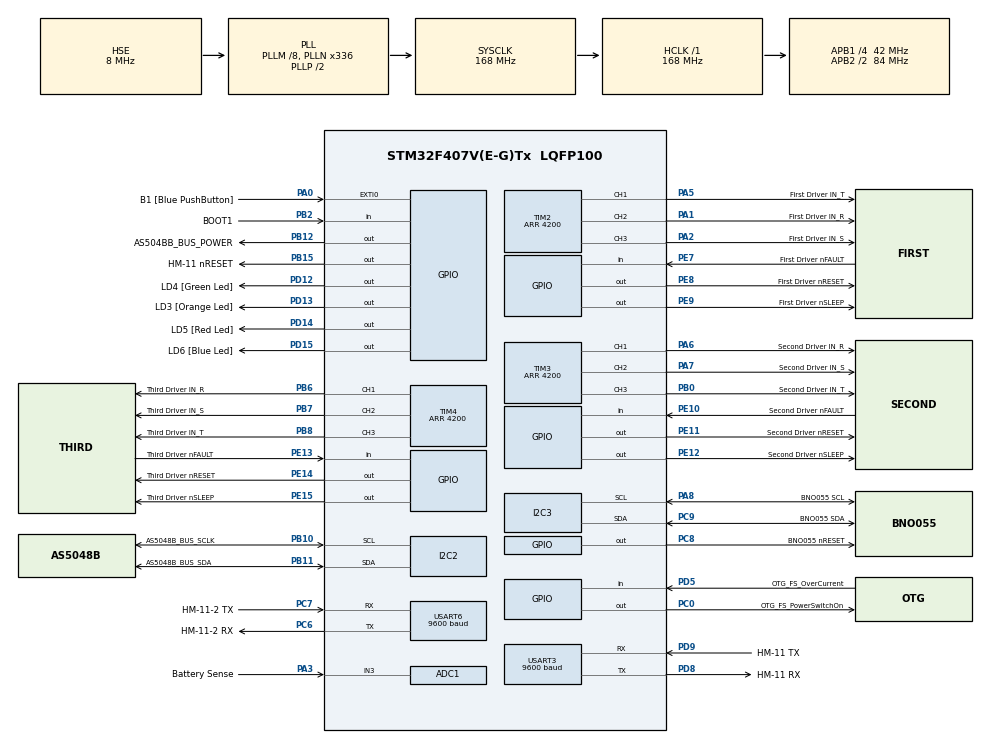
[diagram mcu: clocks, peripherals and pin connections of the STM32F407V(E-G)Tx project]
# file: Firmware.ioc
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ADC1.Channel-4\#ChannelRegularConversion=ADC_CHANNEL_3
ADC1.ClockPrescaler=ADC_CLOCK_SYNC_PCLK_DIV2
ADC1.ContinuousConvMode=DISABLE
ADC1.DMAContinuousRequests=DISABLE
ADC1.DataAlign=ADC_DATAALIGN_RIGHT
ADC1.DiscontinuousConvMode=DISABLE
ADC1.EOCSelection=ADC_EOC_SINGLE_CONV
ADC1.EnableAnalogWatchDog=true
ADC1.ExternalTrigConvEdge=ADC_EXTERNALTRIGCONVEDGE_NONE
ADC1.HighThreshold=2300
ADC1.ITMode=ENABLE
ADC1.InjNumberOfConversion=0
ADC1.LowThreshold=2100
ADC1.NbrOfConversion=1
ADC1.NbrOfConversionFlag=1
ADC1.Rank-4\#ChannelRegularConversion=1
ADC1.Resolution=ADC_RESOLUTION_12B
ADC1.SamplingTime-4\#ChannelRegularConversion=ADC_SAMPLETIME_3CYCLES
ADC1.ScanConvMode=DISABLE
ADC1.WatchdogChannel=ADC_CHANNEL_3
ADC1.WatchdogMode=ADC_ANALOGWATCHDOG_SINGLE_REG
ADC1.master=1
Dma.I2C2_RX.0.Direction=DMA_PERIPH_TO_MEMORY
Dma.I2C2_RX.0.FIFOMode=DMA_FIFOMODE_DISABLE
Dma.I2C2_RX.0.Instance=DMA1_Stream3
Dma.I2C2_RX.0.MemDataAlignment=DMA_MDATAALIGN_BYTE
Dma.I2C2_RX.0.MemInc=DMA_MINC_ENABLE
Dma.I2C2_RX.0.Mode=DMA_NORMAL
Dma.I2C2_RX.0.PeriphDataAlignment=DMA_PDATAALIGN_BYTE
Dma.I2C2_RX.0.PeriphInc=DMA_PINC_DISABLE
Dma.I2C2_RX.0.Priority=DMA_PRIORITY_VERY_HIGH
Dma.I2C2_TX.1.Direction=DMA_MEMORY_TO_PERIPH
Dma.I2C2_TX.1.FIFOMode=DMA_FIFOMODE_DISABLE
Dma.I2C2_TX.1.Instance=DMA1_Stream7
Dma.I2C2_TX.1.MemDataAlignment=DMA_MDATAALIGN_BYTE
Dma.I2C2_TX.1.MemInc=DMA_MINC_ENABLE
Dma.I2C2_TX.1.Mode=DMA_NORMAL
Dma.I2C2_TX.1.PeriphDataAlignment=DMA_PDATAALIGN_BYTE
Dma.I2C2_TX.1.PeriphInc=DMA_PINC_DISABLE
Dma.I2C2_TX.1.Priority=DMA_PRIORITY_VERY_HIGH
Dma.I2C3_RX.2.Direction=DMA_PERIPH_TO_MEMORY
Dma.I2C3_RX.2.FIFOMode=DMA_FIFOMODE_DISABLE
Dma.I2C3_RX.2.Instance=DMA1_Stream2
Dma.I2C3_RX.2.MemDataAlignment=DMA_MDATAALIGN_BYTE
Dma.I2C3_RX.2.MemInc=DMA_MINC_ENABLE
Dma.I2C3_RX.2.Mode=DMA_NORMAL
Dma.I2C3_RX.2.PeriphDataAlignment=DMA_PDATAALIGN_BYTE
Dma.I2C3_RX.2.PeriphInc=DMA_PINC_DISABLE
Dma.I2C3_RX.2.Priority=DMA_PRIORITY_HIGH
Dma.I2C3_TX.3.Direction=DMA_MEMORY_TO_PERIPH
Dma.I2C3_TX.3.FIFOMode=DMA_FIFOMODE_DISABLE
Dma.I2C3_TX.3.Instance=DMA1_Stream4
Dma.I2C3_TX.3.MemDataAlignment=DMA_MDATAALIGN_BYTE
Dma.I2C3_TX.3.MemInc=DMA_MINC_ENABLE
Dma.I2C3_TX.3.Mode=DMA_NORMAL
Dma.I2C3_TX.3.PeriphDataAlignment=DMA_PDATAALIGN_BYTE
Dma.I2C3_TX.3.PeriphInc=DMA_PINC_DISABLE
Dma.I2C3_TX.3.Priority=DMA_PRIORITY_HIGH
Dma.Request0=I2C2_RX
Dma.Request1=I2C2_TX
Dma.Request2=I2C3_RX
Dma.Request3=I2C3_TX
Dma.Request4=USART3_RX
Dma.Request5=USART6_RX
Dma.Request6=USART6_TX
Dma.USART3_RX.4.Direction=DMA_PERIPH_TO_MEMORY
Dma.USART3_RX.4.FIFOMode=DMA_FIFOMODE_DISABLE
Dma.USART3_RX.4.Instance=DMA1_Stream1
Dma.USART3_RX.4.MemDataAlignment=DMA_MDATAALIGN_BYTE
Dma.USART3_RX.4.MemInc=DMA_MINC_ENABLE
Dma.USART3_RX.4.Mode=DMA_NORMAL
Dma.USART3_RX.4.PeriphDataAlignment=DMA_PDATAALIGN_BYTE
Dma.USART3_RX.4.PeriphInc=DMA_PINC_DISABLE
Dma.USART3_RX.4.Priority=DMA_PRIORITY_MEDIUM
Dma.USART6_RX.5.Direction=DMA_PERIPH_TO_MEMORY
Dma.USART6_RX.5.FIFOMode=DMA_FIFOMODE_DISABLE
Dma.USART6_RX.5.Instance=DMA2_Stream1
Dma.USART6_RX.5.MemDataAlignment=DMA_MDATAALIGN_BYTE
Dma.USART6_RX.5.MemInc=DMA_MINC_ENABLE
Dma.USART6_RX.5.Mode=DMA_NORMAL
Dma.USART6_RX.5.PeriphDataAlignment=DMA_PDATAALIGN_BYTE
Dma.USART6_RX.5.PeriphInc=DMA_PINC_DISABLE
Dma.USART6_RX.5.Priority=DMA_PRIORITY_MEDIUM
Dma.USART6_TX.6.Direction=DMA_MEMORY_TO_PERIPH
Dma.USART6_TX.6.FIFOMode=DMA_FIFOMODE_DISABLE
Dma.USART6_TX.6.Instance=DMA2_Stream6
Dma.USART6_TX.6.MemDataAlignment=DMA_MDATAALIGN_BYTE
Dma.USART6_TX.6.MemInc=DMA_MINC_ENABLE
Dma.USART6_TX.6.Mode=DMA_NORMAL
Dma.USART6_TX.6.PeriphDataAlignment=DMA_PDATAALIGN_BYTE
Dma.USART6_TX.6.PeriphInc=DMA_PINC_DISABLE
Dma.USART6_TX.6.Priority=DMA_PRIORITY_MEDIUM
I2C2.I2C_Mode=I2C_Fast
I2C3.I2C_Mode=I2C_Standard
Mcu.Family=STM32F4
Mcu.Name=STM32F407V(E-G)Tx
Mcu.Package=LQFP100
NVIC.ADC_IRQn=true\:11\:0\:true\:false\:true
NVIC.DMA1_Stream1_IRQn=true\:5\:0\:true\:false\:true
NVIC.DMA1_Stream2_IRQn=true\:8\:0\:true\:false\:true
NVIC.DMA1_Stream3_IRQn=true\:2\:0\:true\:false\:true
NVIC.DMA1_Stream4_IRQn=true\:9\:0\:true\:false\:true
NVIC.DMA1_Stream7_IRQn=true\:3\:0\:true\:false\:true
NVIC.DMA2_Stream1_IRQn=true\:5\:0\:true\:false\:true
NVIC.DMA2_Stream6_IRQn=true\:5\:0\:true\:false\:true
NVIC.I2C2_ER_IRQn=true\:0\:0\:true\:false\:true
NVIC.I2C2_EV_IRQn=true\:1\:0\:true\:false\:true
NVIC.I2C3_ER_IRQn=true\:6\:0\:true\:false\:true
NVIC.I2C3_EV_IRQn=true\:7\:0\:true\:false\:true
NVIC.PriorityGroup=NVIC_PRIORITYGROUP_4
NVIC.RCC_IRQn=true\:0\:0\:true\:false\:true
NVIC.TIM6_DAC_IRQn=true\:6\:0\:true\:false\:true
NVIC.TIM7_IRQn=true\:10\:0\:true\:false\:true
NVIC.USART3_IRQn=true\:4\:0\:true\:false\:true
NVIC.USART6_IRQn=true\:4\:0\:true\:false\:true
PA0-WKUP.GPIO_Label=B1 [Blue PushButton]
PA0-WKUP.GPIO_ModeDefaultEXTI=GPIO_MODE_EVT_RISING
PA0-WKUP.GPIO_PuPd=GPIO_NOPULL
PA0-WKUP.Signal=GPXTI0
PA1.GPIO_Label=First Driver IN_R
PA1.Signal=S_TIM2_CH2
PA10.GPIO_Label=OTG_FS_ID
PA10.GPIO_Mode=GPIO_MODE_AF_PP
PA10.GPIO_PuPd=GPIO_NOPULL
PA10.GPIO_Speed=GPIO_SPEED_FREQ_LOW
PA10.Signal=USB_OTG_FS_ID
PA11.GPIO_Label=OTG_FS_DM
PA11.GPIO_Mode=GPIO_MODE_AF_PP
PA11.GPIO_PuPd=GPIO_NOPULL
PA11.GPIO_Speed=GPIO_SPEED_FREQ_LOW
PA11.Signal=USB_OTG_FS_DM
PA12.GPIO_Label=OTG_FS_DP
PA12.GPIO_Mode=GPIO_MODE_AF_PP
PA12.GPIO_PuPd=GPIO_NOPULL
PA12.GPIO_Speed=GPIO_SPEED_FREQ_LOW
PA12.Signal=USB_OTG_FS_DP
PA13.GPIO_Label=SWDIO
PA13.Signal=SYS_JTMS-SWDIO
PA14.GPIO_Label=SWCLK
PA14.Signal=SYS_JTCK-SWCLK
PA2.GPIO_Label=First Driver IN_S
PA2.Signal=S_TIM2_CH3
PA3.GPIO_Label=Battery Sense
PA3.Signal=ADCx_IN3
PA5.GPIO_Label=First Driver IN_T
PA5.Signal=S_TIM2_CH1_ETR
PA6.GPIO_Label=Second Driver IN_R
PA6.Signal=S_TIM3_CH1
PA7.GPIO_Label=Second Driver IN_S
PA7.Signal=S_TIM3_CH2
PA8.GPIO_Label=BNO055 SCL
PA8.Mode=I2C
PA8.Signal=I2C3_SCL
PA9.GPIO_Label=VBUS_FS
PA9.GPIO_Mode=GPIO_MODE_INPUT
PA9.GPIO_PuPd=GPIO_NOPULL
PA9.Signal=USB_OTG_FS_VBUS
PB0.GPIO_Label=Second Driver IN_T
PB0.Signal=S_TIM3_CH3
PB10.GPIO_Label=AS5048B_BUS_SCLK
PB10.Mode=I2C
PB10.Signal=I2C2_SCL
PB11.GPIO_Label=AS5048B_BUS_SDA
PB11.Mode=I2C
PB11.Signal=I2C2_SDA
PB12.GPIO_Label=AS504BB_BUS_POWER
PB12.PinState=GPIO_PIN_SET
PB12.Signal=GPIO_Output
PB15.GPIO_Label=HM-11 nRESET
PB15.PinState=GPIO_PIN_SET
PB15.Signal=GPIO_Output
PB2.GPIO_Label=BOOT1
PB2.GPIO_Mode=GPIO_MODE_INPUT
PB2.GPIO_PuPd=GPIO_NOPULL
PB2.Signal=GPIO_Input
PB3.GPIO_Label=SWO
PB3.Signal=SYS_JTDO-SWO
PB6.GPIO_Label=Third Driver IN_R
PB6.Signal=S_TIM4_CH1
PB7.GPIO_Label=Third Driver IN_S
PB7.Signal=S_TIM4_CH2
PB8.GPIO_Label=Third Driver IN_T
PB8.Signal=S_TIM4_CH3
PC0.GPIO_Label=OTG_FS_PowerSwitchOn
PC0.GPIO_PuPd=GPIO_NOPULL
PC0.GPIO_Speed=GPIO_SPEED_FREQ_LOW
PC0.Signal=GPIO_Output
PC14-OSC32_IN.GPIO_Label=PC14-OSC32_IN
PC14-OSC32_IN.Mode=LSE-External-Oscillator
PC14-OSC32_IN.Signal=RCC_OSC32_IN
PC15-OSC32_OUT.GPIO_Label=PC15-OSC32_OUT
PC15-OSC32_OUT.Mode=LSE-External-Oscillator
PC15-OSC32_OUT.Signal=RCC_OSC32_OUT
PC6.GPIO_Label=HM-11-2 RX
PC6.Mode=Asynchronous
PC6.Signal=USART6_TX
PC7.GPIO_Label=HM-11-2 TX
PC7.Mode=Asynchronous
PC7.Signal=USART6_RX
PC8.GPIO_Label=BNO055 nRESET
PC8.PinState=GPIO_PIN_SET
PC8.Signal=GPIO_Output
PC9.GPIO_Label=BNO055 SDA
PC9.Mode=I2C
PC9.Signal=I2C3_SDA
PD12.GPIO_Label=LD4 [Green Led]
PD12.GPIO_PuPd=GPIO_NOPULL
PD12.GPIO_Speed=GPIO_SPEED_FREQ_LOW
PD12.Signal=GPIO_Output
PD13.GPIO_Label=LD3 [Orange Led]
PD13.GPIO_PuPd=GPIO_NOPULL
PD13.GPIO_Speed=GPIO_SPEED_FREQ_LOW
PD13.Signal=GPIO_Output
PD14.GPIO_Label=LD5 [Red Led]
PD14.GPIO_PuPd=GPIO_NOPULL
PD14.GPIO_Speed=GPIO_SPEED_FREQ_LOW
PD14.Signal=GPIO_Output
PD15.GPIO_Label=LD6 [Blue Led]
PD15.GPIO_PuPd=GPIO_NOPULL
PD15.GPIO_Speed=GPIO_SPEED_FREQ_LOW
PD15.Signal=GPIO_Output
PD5.GPIO_Label=OTG_FS_OverCurrent
PD5.GPIO_Mode=GPIO_MODE_INPUT
PD5.GPIO_PuPd=GPIO_NOPULL
PD5.Signal=GPIO_Input
PD8.GPIO_Label=HM-11 RX
PD8.Mode=Asynchronous
PD8.Signal=USART3_TX
PD9.GPIO_Label=HM-11 TX
PD9.Mode=Asynchronous
PD9.Signal=USART3_RX
PE10.GPIO_Label=Second Driver nFAULT
PE10.GPIO_PuPd=GPIO_PULLUP
PE10.Signal=GPIO_Input
PE11.GPIO_Label=Second Driver nRESET
PE11.Signal=GPIO_Output
PE12.GPIO_Label=Second Driver nSLEEP
PE12.Signal=GPIO_Output
PE13.GPIO_Label=Third Driver nFAULT
PE13.GPIO_PuPd=GPIO_PULLUP
PE13.Signal=GPIO_Input
PE14.GPIO_Label=Third Driver nRESET
PE14.Signal=GPIO_Output
PE15.GPIO_Label=Third Driver nSLEEP
PE15.Signal=GPIO_Output
PE7.GPIO_Label=First Driver nFAULT
PE7.GPIO_PuPd=GPIO_PULLUP
PE7.Signal=GPIO_Input
PE8.GPIO_Label=First Driver nRESET
PE8.Signal=GPIO_Output
PE9.GPIO_Label=First Driver nSLEEP
PE9.Signal=GPIO_Output
PH0-OSC_IN.GPIO_Label=PH0-OSC_IN
PH0-OSC_IN.Mode=HSE-External-Oscillator
PH0-OSC_IN.Signal=RCC_OSC_IN
PH1-OSC_OUT.GPIO_Label=PH1-OSC_OUT
PH1-OSC_OUT.Mode=HSE-External-Oscillator
PH1-OSC_OUT.Signal=RCC_OSC_OUT
ProjectManager.HeapSize=0x400
ProjectManager.StackSize=0x200
ProjectManager.TargetToolchain=EWARM
RCC.48MHZClocksFreq_Value=48000000
RCC.AHBFreq_Value=168000000
RCC.APB1CLKDivider=RCC_HCLK_DIV4
RCC.APB1Freq_Value=42000000
RCC.APB1TimFreq_Value=84000000
RCC.APB2CLKDivider=RCC_HCLK_DIV2
RCC.APB2Freq_Value=84000000
RCC.APB2TimFreq_Value=168000000
RCC.CortexFreq_Value=168000000
RCC.EnbaleCSS=true
RCC.HCLKFreq_Value=168000000
RCC.HSE_VALUE=8000000
RCC.HSI_VALUE=16000000
RCC.PLLM=8
RCC.PLLN=336
RCC.PLLQ=7
RCC.PLLSourceVirtual=RCC_PLLSOURCE_HSE
RCC.SYSCLKFreq_VALUE=168000000
RCC.SYSCLKSource=RCC_SYSCLKSOURCE_PLLCLK
RCC.VCOOutputFreq_Value=336000000
RCC.VDD_VALUE=3.3
SH.ADCx_IN3.0=ADC1_IN3,IN3
SH.S_TIM2_CH1_ETR.0=TIM2_CH1,PWM Generation1 CH1
SH.S_TIM2_CH2.0=TIM2_CH2,PWM Generation2 CH2
SH.S_TIM2_CH3.0=TIM2_CH3,PWM Generation3 CH3
SH.S_TIM3_CH1.0=TIM3_CH1,PWM Generation1 CH1
SH.S_TIM3_CH2.0=TIM3_CH2,PWM Generation2 CH2
SH.S_TIM3_CH3.0=TIM3_CH3,PWM Generation3 CH3
SH.S_TIM4_CH1.0=TIM4_CH1,PWM Generation1 CH1
SH.S_TIM4_CH2.0=TIM4_CH2,PWM Generation2 CH2
SH.S_TIM4_CH3.0=TIM4_CH3,PWM Generation3 CH3
TIM2.Channel-PWM\ Generation2\ CH2=TIM_CHANNEL_2
TIM2.Channel-PWM\ Generation3\ CH3=TIM_CHANNEL_3
TIM2.OCMode_PWM-PWM\ Generation1\ CH1=TIM_OCMODE_PWM2
TIM2.OCMode_PWM-PWM\ Generation2\ CH2=TIM_OCMODE_PWM2
TIM2.OCMode_PWM-PWM\ Generation3\ CH3=TIM_OCMODE_PWM2
TIM2.OCPolarity_1=TIM_OCPOLARITY_LOW
TIM2.OCPolarity_2=TIM_OCPOLARITY_LOW
TIM2.OCPolarity_3=TIM_OCPOLARITY_LOW
TIM2.Period=4200
TIM3.Channel-PWM\ Generation2\ CH2=TIM_CHANNEL_2
TIM3.Channel-PWM\ Generation3\ CH3=TIM_CHANNEL_3
TIM3.OCMode_PWM-PWM\ Generation1\ CH1=TIM_OCMODE_PWM2
TIM3.OCMode_PWM-PWM\ Generation2\ CH2=TIM_OCMODE_PWM2
TIM3.OCPolarity_1=TIM_OCPOLARITY_LOW
TIM3.OCPolarity_2=TIM_OCPOLARITY_LOW
TIM3.Period=4200
TIM4.Channel-PWM\ Generation2\ CH2=TIM_CHANNEL_2
TIM4.Channel-PWM\ Generation3\ CH3=TIM_CHANNEL_3
TIM4.OCMode_PWM-PWM\ Generation1\ CH1=TIM_OCMODE_PWM2
TIM4.OCMode_PWM-PWM\ Generation2\ CH2=TIM_OCMODE_PWM2
TIM4.OCPolarity_1=TIM_OCPOLARITY_LOW
TIM4.OCPolarity_2=TIM_OCPOLARITY_LOW
TIM4.Period=4200
TIM6.Period=1000
TIM6.Prescaler=83
TIM7.Period=10000
TIM7.Prescaler=83
USART3.BaudRate=9600
USART6.BaudRate=9600
VP_TIM2_VS_ClockSourceINT.Mode=Internal
VP_TIM3_VS_ClockSourceINT.Mode=Internal
VP_TIM4_VS_ClockSourceINT.Mode=Internal
VP_TIM6_VS_ClockSourceINT.Mode=Enable_Timer
VP_TIM7_VS_ClockSourceINT.Mode=Enable_Timer
board=STM32F4DISCOVERY

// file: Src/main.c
/**
  ******************************************************************************
  * File Name          : main.c
  * Description        : Main program body
  ******************************************************************************
  *
  * COPYRIGHT(c) 2016 STMicroelectronics
  *
  * Redistribution and use in source and binary forms, with or without modification,
  * are permitted provided that the following conditions are met:
  *   1. Redistributions of source code must retain the above copyright notice,
  *      this list of conditions and the following disclaimer.
  *   2. Redistributions in binary form must reproduce the above copyright notice,
  *      this list of conditions and the following disclaimer in the documentation
  *      and/or other materials provided with the distribution.
  *   3. Neither the name of STMicroelectronics nor the names of its contributors
  *      may be used to endorse or promote products derived from this software
  *      without specific prior written permission.
  *
  * THIS SOFTWARE IS PROVIDED BY THE COPYRIGHT HOLDERS AND CONTRIBUTORS "AS IS"
  * AND ANY EXPRESS OR IMPLIED WARRANTIES, INCLUDING, BUT NOT LIMITED TO, THE
  * IMPLIED WARRANTIES OF MERCHANTABILITY AND FITNESS FOR A PARTICULAR PURPOSE ARE
  * DISCLAIMED. IN NO EVENT SHALL THE COPYRIGHT HOLDER OR CONTRIBUTORS BE LIABLE
  * FOR ANY DIRECT, INDIRECT, INCIDENTAL, SPECIAL, EXEMPLARY, OR CONSEQUENTIAL
  * DAMAGES (INCLUDING, BUT NOT LIMITED TO, PROCUREMENT OF SUBSTITUTE GOODS OR
  * SERVICES; LOSS OF USE, DATA, OR PROFITS; OR BUSINESS INTERRUPTION) HOWEVER
  * CAUSED AND ON ANY THEORY OF LIABILITY, WHETHER IN CONTRACT, STRICT LIABILITY,
  * OR TORT (INCLUDING NEGLIGENCE OR OTHERWISE) ARISING IN ANY WAY OUT OF THE USE
  * OF THIS SOFTWARE, EVEN IF ADVISED OF THE POSSIBILITY OF SUCH DAMAGE.
  *
  ******************************************************************************
  */
#include "stm32f4xx_hal.h"

/* USER CODE BEGIN Includes */

#include <math.h>
#include "i2c_manager.h"
#include "mot_ctrl.h"
#include "orient_sens_drv.h"
#include "quaternion.h"
#include "vector_int.h"
#include "uart_pkt_xcvr.h"
#include "generic.h"

/* Constants -----------------------------------------------------------------*/
#define BODY_ORIENTATION_OFFSET                         {1.0f, 0.0f, 0.0f, 0.0f}

/* Link zero positions */
#define FIRST_ZERO_POSITION                             0.72475f
#define SECOND_ZERO_POSITION                            -1.25f
#define THIRD_ZERO_POSITION                             1.091f

#define CONTROLLER_DROPOUT_PERIOD                       25U     /* In units of 10ms */

#define OPERATION_MODE_STABILIZER                       0x00
#define OPERATION_MODE_STABILIZER_AND_CONTROLLER        0x01

#define DATA_PACKET_SIZE                                12U

#define NUM_OF_SUCCESSIVE_PACKETS_FOR_SYNCHRONIZATION   100U
/* USER CODE END Includes */

ADC_HandleTypeDef hadc1;

I2C_HandleTypeDef hi2c2;
I2C_HandleTypeDef hi2c3;
DMA_HandleTypeDef hdma_i2c2_rx;
DMA_HandleTypeDef hdma_i2c2_tx;
DMA_HandleTypeDef hdma_i2c3_rx;
DMA_HandleTypeDef hdma_i2c3_tx;

TIM_HandleTypeDef htim2;
TIM_HandleTypeDef htim3;
TIM_HandleTypeDef htim4;
TIM_HandleTypeDef htim6;
TIM_HandleTypeDef htim7;

UART_HandleTypeDef huart3;
UART_HandleTypeDef huart6;
DMA_HandleTypeDef hdma_usart3_rx;
DMA_HandleTypeDef hdma_usart6_rx;
DMA_HandleTypeDef hdma_usart6_tx;

/* USER CODE BEGIN PV */
/* Private variables ---------------------------------------------------------*/
volatile uint8_t        OperationMode;

uint16_t                LastControllerInteractionStopwatch = 0U;
volatile uint32_t       ControlTick = 0U;

Quaternion_Quaternion_t BodyOrientation = {1.0f, 0.0f, 0.0f, 0.0f};
Quaternion_Quaternion_t ControllerOrientation = {1.0f, 0.0f, 0.0f, 0.0f};
Quaternion_EulerAngles_t EulerAngles = {0.0f, 0.0f, 0.0f};

uint32_t                SuccessivePackets = 0U;
int32_t                 TickDifferenceCoarse = 0U;
float                   TickDifferenceFine = 0.0f;

volatile uint8_t        ErrorOccured = FALSE;
volatile uint8_t        NewPacketFlag = FALSE;
uint8_t                 DataPacket[DATA_PACKET_SIZE];

I2CManager_Handle_t     i2c2ManagerHandle;
I2CManager_Handle_t     i2c3ManagerHandle;

OrientSensDrv_Handle_t  orientSensDrvHandle;

VectorInt_Handle_t      bodyVectorIntHandle;
VectorInt_Handle_t      controllerVectorIntHandle;

MotCtrl_Handle_t        firstMotCtrlHandle;
MotCtrl_Handle_t        secondMotCtrlHandle;
MotCtrl_Handle_t        thirdMotCtrlHandle;

UartPktXcvr_Handle_t    uartPktXcvrHandle;

/* USER CODE END PV */

void SystemClock_Config(void);
static void MX_GPIO_Init(void);
static void MX_DMA_Init(void);
static void MX_I2C2_Init(void);
static void MX_TIM2_Init(void);
static void MX_TIM3_Init(void);
static void MX_TIM4_Init(void);
static void MX_USART3_UART_Init(void);
static void MX_ADC1_Init(void);
static void MX_I2C3_Init(void);
static void MX_TIM6_Init(void);
static void MX_TIM7_Init(void);
static void MX_USART6_UART_Init(void);

void HAL_TIM_MspPostInit(TIM_HandleTypeDef *htim);

/* USER CODE BEGIN PFP */

/* Private function prototypes -----------------------------------------------*/
static void MotionControlTask(void);
static void OrientationReadTask(void);
static void ProcessPacketDataTask(void);
static void Error_Handler(void);
void HAL_TIM_MspPostInit(TIM_HandleTypeDef *htim);

/* USER CODE END PFP */

int main(void)
{

  /* MCU Configuration----------------------------------------------------------*/

  /* Reset of all peripherals, Initializes the Flash interface and the Systick. */
  HAL_Init();

  /* Configure the system clock */
  SystemClock_Config();

  /* Initialize all configured peripherals */
  MX_GPIO_Init();
  MX_DMA_Init();
  MX_I2C2_Init();
  MX_TIM2_Init();
  MX_TIM3_Init();
  MX_TIM4_Init();
  MX_USART3_UART_Init();
  MX_ADC1_Init();
  MX_I2C3_Init();
  MX_TIM6_Init();
  MX_TIM7_Init();
  MX_USART6_UART_Init();

  /* USER CODE BEGIN 2 */
  /* Initialize Eeprom Emulator */
  if (EepromEmulator_Init() != EEPROM_EMULATOR_OP_RES_SUCCESS)
  {
    Error_Handler();
  }

  /* Initialize I2C managers */
  {
    I2CManager_Init_t i2cManagerInit;

    i2cManagerInit.hi2c = &hi2c2;

    if (I2CManager_Init(&i2c2ManagerHandle, &i2cManagerInit) != I2C_MANAGER_OP_RES_SUCCESS)
    {
      Error_Handler();
    }

    i2cManagerInit.hi2c = &hi2c3;

    if (I2CManager_Init(&i2c3ManagerHandle, &i2cManagerInit) != I2C_MANAGER_OP_RES_SUCCESS)
    {
      Error_Handler();
    }
  }

  /* Start I2C managers */
  {
    if (I2CManager_Start(&i2c2ManagerHandle) != I2C_MANAGER_OP_RES_SUCCESS)
    {
      Error_Handler();
    }

    if (I2CManager_Start(&i2c3ManagerHandle) != I2C_MANAGER_OP_RES_SUCCESS)
    {
      Error_Handler();
    }
  }

  /* Initialize orientation sensor driver */
  {
    OrientSensDrv_Init_t orientSensDrvInit;

    /* Init orientation sensor driver */
    orientSensDrvInit.devAddr = 0x50;
    orientSensDrvInit.eeEmulObjId = 0;
    orientSensDrvInit.pI2CManagerHandle = &i2c3ManagerHandle;

    if (OrientSensDrv_Init(&orientSensDrvHandle, &orientSensDrvInit) != ORIENT_SENS_DRV_OP_RES_SUCCESS)
    {
      Error_Handler();
    }
  }

  /* Initialize interpolaters */
  {
    VectorInt_Init_t vectorIntInitStruct;

    vectorIntInitStruct.filterTC = 0.01f;
    vectorIntInitStruct.timeShift = 0.012f;
    vectorIntInitStruct.circBufferSize = 5;
    vectorIntInitStruct.vectorSize = 4U;

    vectorIntInitStruct.unitVector[0] = 1.0f;
    vectorIntInitStruct.unitVector[1] = 0.0f;
    vectorIntInitStruct.unitVector[2] = 0.0f;
    vectorIntInitStruct.unitVector[3] = 0.0f;

    if (VectorInt_Init(&bodyVectorIntHandle, &vectorIntInitStruct) != VECTOR_INT_OP_RES_SUCCESS)
    {
      Error_Handler();
    }

    vectorIntInitStruct.filterTC = 0.1f;
    vectorIntInitStruct.timeShift = 0.05f;
    vectorIntInitStruct.circBufferSize = 12;
    vectorIntInitStruct.vectorSize = 4U;
    if (VectorInt_Init(&controllerVectorIntHandle, &vectorIntInitStruct) != VECTOR_INT_OP_RES_SUCCESS)
    {
      Error_Handler();
    }
  }

  /* Initialize motor controllers */

  {
    MotCtrl_Init_t motCtrlInit;

    /* Init first motor controller */
    motCtrlInit.bldcDrvInit.hTim = &htim2;
    motCtrlInit.bldcDrvInit.poleCount = 14U;
    motCtrlInit.bldcDrvInit.pinMap.inRChannel = TIM_CHANNEL_1;
    motCtrlInit.bldcDrvInit.pinMap.inSChannel = TIM_CHANNEL_2;
    motCtrlInit.bldcDrvInit.pinMap.inTChannel = TIM_CHANNEL_3;
    motCtrlInit.bldcDrvInit.pinMap.nFaultPin = First_Driver_nFAULT_Pin;
    motCtrlInit.bldcDrvInit.pinMap.nFaultPort = First_Driver_nFAULT_GPIO_Port;
    motCtrlInit.bldcDrvInit.pinMap.nResetPin = First_Driver_nRESET_Pin;
    motCtrlInit.bldcDrvInit.pinMap.nResetPort = First_Driver_nRESET_GPIO_Port;
    motCtrlInit.bldcDrvInit.pinMap.nSleepPin = First_Driver_nSLEEP_Pin;
    motCtrlInit.bldcDrvInit.pinMap.nSleepPort = First_Driver_nSLEEP_GPIO_Port;

    motCtrlInit.pidCtrlInit.gain = 10.0f;
    motCtrlInit.pidCtrlInit.integralTC = 100000000.0f;
    motCtrlInit.pidCtrlInit.derivativeTC = 0.05f;
    motCtrlInit.pidCtrlInit.filterTC = 0.01f;
    motCtrlInit.pidCtrlInit.highLimit = 1.0f;
    motCtrlInit.pidCtrlInit.lowLimit = -1.0f;

    motCtrlInit.posSensDrvInit.devAddr = 0x80;
    motCtrlInit.posSensDrvInit.pI2CManagerHandle = &i2c2ManagerHandle;
    motCtrlInit.posSensDrvInit.filterTC = 0.0015;
    motCtrlInit.posSensDrvInit.zeroPosition = FIRST_ZERO_POSITION;

    motCtrlInit.eeEmulObjId = 1;

    if (MotCtrl_Init(&firstMotCtrlHandle, &motCtrlInit) != MOT_CTRL_OP_RES_SUCCESS)
    {
      Error_Handler();
    }

    /* Init second motor controller */
    motCtrlInit.bldcDrvInit.hTim = &htim3;
    motCtrlInit.bldcDrvInit.poleCount = 14U;
    motCtrlInit.bldcDrvInit.pinMap.inRChannel = TIM_CHANNEL_1;
    motCtrlInit.bldcDrvInit.pinMap.inSChannel = TIM_CHANNEL_2;
    motCtrlInit.bldcDrvInit.pinMap.inTChannel = TIM_CHANNEL_3;
    motCtrlInit.bldcDrvInit.pinMap.nFaultPin = Second_Driver_nFAULT_Pin;
    motCtrlInit.bldcDrvInit.pinMap.nFaultPort = Second_Driver_nFAULT_GPIO_Port;
    motCtrlInit.bldcDrvInit.pinMap.nResetPin = Second_Driver_nRESET_Pin;
    motCtrlInit.bldcDrvInit.pinMap.nResetPort = Second_Driver_nRESET_GPIO_Port;
    motCtrlInit.bldcDrvInit.pinMap.nSleepPin = Second_Driver_nSLEEP_Pin;
    motCtrlInit.bldcDrvInit.pinMap.nSleepPort = Second_Driver_nSLEEP_GPIO_Port;

    motCtrlInit.pidCtrlInit.gain = 7.0f;
    motCtrlInit.pidCtrlInit.integralTC = 1000000.0f;
    motCtrlInit.pidCtrlInit.derivativeTC = 0.05f;
    motCtrlInit.pidCtrlInit.filterTC = 0.01f;
    motCtrlInit.pidCtrlInit.highLimit = 1.0f;
    motCtrlInit.pidCtrlInit.lowLimit = -1.0f;

    motCtrlInit.posSensDrvInit.devAddr = 0x82;
    motCtrlInit.posSensDrvInit.pI2CManagerHandle = &i2c2ManagerHandle;
    motCtrlInit.posSensDrvInit.filterTC = 0.0015;
    motCtrlInit.posSensDrvInit.zeroPosition = SECOND_ZERO_POSITION;

    motCtrlInit.eeEmulObjId = 2;

    if (MotCtrl_Init(&secondMotCtrlHandle, &motCtrlInit) != MOT_CTRL_OP_RES_SUCCESS)
    {
      Error_Handler();
    }

    /* Init third motor controller */
    motCtrlInit.bldcDrvInit.hTim = &htim4;
    motCtrlInit.bldcDrvInit.poleCount = 14U;
    motCtrlInit.bldcDrvInit.pinMap.inRChannel = TIM_CHANNEL_1;
    motCtrlInit.bldcDrvInit.pinMap.inSChannel = TIM_CHANNEL_2;
    motCtrlInit.bldcDrvInit.pinMap.inTChannel = TIM_CHANNEL_3;
    motCtrlInit.bldcDrvInit.pinMap.nFaultPin = Third_Driver_nFAULT_Pin;
    motCtrlInit.bldcDrvInit.pinMap.nFaultPort = Third_Driver_nFAULT_GPIO_Port;
    motCtrlInit.bldcDrvInit.pinMap.nResetPin = Third_Driver_nRESET_Pin;
    motCtrlInit.bldcDrvInit.pinMap.nResetPort = Third_Driver_nRESET_GPIO_Port;
    motCtrlInit.bldcDrvInit.pinMap.nSleepPin = Third_Driver_nSLEEP_Pin;
    motCtrlInit.bldcDrvInit.pinMap.nSleepPort = Third_Driver_nSLEEP_GPIO_Port;

    motCtrlInit.pidCtrlInit.gain = 5.5f;
    motCtrlInit.pidCtrlInit.integralTC = 10000000.0f;
    motCtrlInit.pidCtrlInit.derivativeTC = 0.04f;
    motCtrlInit.pidCtrlInit.filterTC = 0.01f;
    motCtrlInit.pidCtrlInit.highLimit = 1.0f;
    motCtrlInit.pidCtrlInit.lowLimit = -1.0f;

    motCtrlInit.posSensDrvInit.devAddr = 0x84;
    motCtrlInit.posSensDrvInit.pI2CManagerHandle = &i2c2ManagerHandle;
    motCtrlInit.posSensDrvInit.filterTC = 0.0015;
    motCtrlInit.posSensDrvInit.zeroPosition = THIRD_ZERO_POSITION;

    motCtrlInit.eeEmulObjId = 3;

    if (MotCtrl_Init(&thirdMotCtrlHandle, &motCtrlInit) != MOT_CTRL_OP_RES_SUCCESS)
    {
      Error_Handler();
    }
  }

  /* Initialize UART packet transceiver */
  {
    UartPktXcvr_Init_t  uartPktXcvrInitStruct;
    uartPktXcvrInitStruct.huart = &huart6;

    if (UartPktXcvr_Init(&uartPktXcvrHandle, &uartPktXcvrInitStruct) != UART_PKT_XCVR_OP_RES_SUCCESS)
    {
      Error_Handler();
    }
  }

  /* Start orientation sensor driver */
  {
    if (OrientSensDrv_Start(&orientSensDrvHandle) != ORIENT_SENS_DRV_OP_RES_SUCCESS)
    {
      Error_Handler();
    }
  }

  /* Start body and controller vector interpolater */
  {
    if (VectorInt_Start(&bodyVectorIntHandle) != VECTOR_INT_OP_RES_SUCCESS)
    {
      Error_Handler();
    }

    if (VectorInt_Start(&controllerVectorIntHandle) != VECTOR_INT_OP_RES_SUCCESS)
    {
      Error_Handler();
    }
  }

  /* Start motor controllers */
  {
    if (MotCtrl_Start(&firstMotCtrlHandle) != MOT_CTRL_OP_RES_SUCCESS)
    {
      Error_Handler();
    }

    if (MotCtrl_Start(&secondMotCtrlHandle) != MOT_CTRL_OP_RES_SUCCESS)
    {
      Error_Handler();
    }

    if (MotCtrl_Start(&thirdMotCtrlHandle) != MOT_CTRL_OP_RES_SUCCESS)
    {
      Error_Handler();
    }
  }

  /* Start UART Packet Transceiver */
  {
    if (UartPktXcvr_Start(&uartPktXcvrHandle) != UART_PKT_XCVR_OP_RES_SUCCESS)
    {
      Error_Handler();
    }
  }

  /* Start timers */
  if (HAL_TIM_Base_Start_IT(&htim6) != HAL_OK)
  {
    Error_Handler();
  }

  if (HAL_TIM_Base_Start_IT(&htim7) != HAL_OK)
  {
    Error_Handler();
  }

  OperationMode = OPERATION_MODE_STABILIZER;

  /* USER CODE END 2 */

  /* Infinite loop */
  while (1)
  {

  }

}

/** System Clock Configuration
*/
void SystemClock_Config(void)
{

  RCC_OscInitTypeDef RCC_OscInitStruct;
  RCC_ClkInitTypeDef RCC_ClkInitStruct;

  __HAL_RCC_PWR_CLK_ENABLE();

  __HAL_PWR_VOLTAGESCALING_CONFIG(PWR_REGULATOR_VOLTAGE_SCALE1);

  RCC_OscInitStruct.OscillatorType = RCC_OSCILLATORTYPE_HSE;
  RCC_OscInitStruct.HSEState = RCC_HSE_ON;
  RCC_OscInitStruct.PLL.PLLState = RCC_PLL_ON;
  RCC_OscInitStruct.PLL.PLLSource = RCC_PLLSOURCE_HSE;
  RCC_OscInitStruct.PLL.PLLM = 8;
  RCC_OscInitStruct.PLL.PLLN = 336;
  RCC_OscInitStruct.PLL.PLLP = RCC_PLLP_DIV2;
  RCC_OscInitStruct.PLL.PLLQ = 7;
  HAL_RCC_OscConfig(&RCC_OscInitStruct);

  RCC_ClkInitStruct.ClockType = RCC_CLOCKTYPE_HCLK|RCC_CLOCKTYPE_SYSCLK
                              |RCC_CLOCKTYPE_PCLK1|RCC_CLOCKTYPE_PCLK2;
  RCC_ClkInitStruct.SYSCLKSource = RCC_SYSCLKSOURCE_PLLCLK;
  RCC_ClkInitStruct.AHBCLKDivider = RCC_SYSCLK_DIV1;
  RCC_ClkInitStruct.APB1CLKDivider = RCC_HCLK_DIV4;
  RCC_ClkInitStruct.APB2CLKDivider = RCC_HCLK_DIV2;
  HAL_RCC_ClockConfig(&RCC_ClkInitStruct, FLASH_LATENCY_5);

  HAL_RCC_EnableCSS();

  HAL_SYSTICK_Config(HAL_RCC_GetHCLKFreq()/1000);

  HAL_SYSTICK_CLKSourceConfig(SYSTICK_CLKSOURCE_HCLK);

  /* SysTick_IRQn interrupt configuration */
  HAL_NVIC_SetPriority(SysTick_IRQn, 0, 0);
}

/* ADC1 init function */
void MX_ADC1_Init(void)
{

  ADC_AnalogWDGConfTypeDef AnalogWDGConfig;
  ADC_ChannelConfTypeDef sConfig;

    /**Configure the global features of the ADC (Clock, Resolution, Data Alignment and number of conversion)
    */
  hadc1.Instance = ADC1;
  hadc1.Init.ClockPrescaler = ADC_CLOCK_SYNC_PCLK_DIV2;
  hadc1.Init.Resolution = ADC_RESOLUTION_12B;
  hadc1.Init.ScanConvMode = DISABLE;
  hadc1.Init.ContinuousConvMode = DISABLE;
  hadc1.Init.DiscontinuousConvMode = DISABLE;
  hadc1.Init.ExternalTrigConvEdge = ADC_EXTERNALTRIGCONVEDGE_NONE;
  hadc1.Init.DataAlign = ADC_DATAALIGN_RIGHT;
  hadc1.Init.NbrOfConversion = 1;
  hadc1.Init.DMAContinuousRequests = DISABLE;
  hadc1.Init.EOCSelection = ADC_EOC_SINGLE_CONV;
  HAL_ADC_Init(&hadc1);

    /**Configure the analog watchdog
    */
  AnalogWDGConfig.WatchdogMode = ADC_ANALOGWATCHDOG_SINGLE_REG;
  AnalogWDGConfig.HighThreshold = 2300;
  AnalogWDGConfig.LowThreshold = 2100;
  AnalogWDGConfig.Channel = ADC_CHANNEL_3;
  AnalogWDGConfig.ITMode = ENABLE;
  HAL_ADC_AnalogWDGConfig(&hadc1, &AnalogWDGConfig);

    /**Configure for the selected ADC regular channel its corresponding rank in the sequencer and its sample time.
    */
  sConfig.Channel = ADC_CHANNEL_3;
  sConfig.Rank = 1;
  sConfig.SamplingTime = ADC_SAMPLETIME_3CYCLES;
  HAL_ADC_ConfigChannel(&hadc1, &sConfig);

}

/* I2C2 init function */
void MX_I2C2_Init(void)
{

  hi2c2.Instance = I2C2;
  hi2c2.Init.ClockSpeed = 400000;
  hi2c2.Init.DutyCycle = I2C_DUTYCYCLE_2;
  hi2c2.Init.OwnAddress1 = 0;
  hi2c2.Init.AddressingMode = I2C_ADDRESSINGMODE_7BIT;
  hi2c2.Init.DualAddressMode = I2C_DUALADDRESS_DISABLE;
  hi2c2.Init.OwnAddress2 = 0;
  hi2c2.Init.GeneralCallMode = I2C_GENERALCALL_DISABLE;
  hi2c2.Init.NoStretchMode = I2C_NOSTRETCH_DISABLE;
  HAL_I2C_Init(&hi2c2);

}

/* I2C3 init function */
void MX_I2C3_Init(void)
{

  hi2c3.Instance = I2C3;
  hi2c3.Init.ClockSpeed = 100000;
  hi2c3.Init.DutyCycle = I2C_DUTYCYCLE_2;
  hi2c3.Init.OwnAddress1 = 0;
  hi2c3.Init.AddressingMode = I2C_ADDRESSINGMODE_7BIT;
  hi2c3.Init.DualAddressMode = I2C_DUALADDRESS_DISABLE;
  hi2c3.Init.OwnAddress2 = 0;
  hi2c3.Init.GeneralCallMode = I2C_GENERALCALL_DISABLE;
  hi2c3.Init.NoStretchMode = I2C_NOSTRETCH_DISABLE;
  HAL_I2C_Init(&hi2c3);

}

/* TIM2 init function */
void MX_TIM2_Init(void)
{

  TIM_ClockConfigTypeDef sClockSourceConfig;
  TIM_MasterConfigTypeDef sMasterConfig;
  TIM_OC_InitTypeDef sConfigOC;

  htim2.Instance = TIM2;
  htim2.Init.Prescaler = 0;
  htim2.Init.CounterMode = TIM_COUNTERMODE_UP;
  htim2.Init.Period = 4200;
  htim2.Init.ClockDivision = TIM_CLOCKDIVISION_DIV1;
  HAL_TIM_Base_Init(&htim2);

  sClockSourceConfig.ClockSource = TIM_CLOCKSOURCE_INTERNAL;
  HAL_TIM_ConfigClockSource(&htim2, &sClockSourceConfig);

  HAL_TIM_PWM_Init(&htim2);

  sMasterConfig.MasterOutputTrigger = TIM_TRGO_RESET;
  sMasterConfig.MasterSlaveMode = TIM_MASTERSLAVEMODE_DISABLE;
  HAL_TIMEx_MasterConfigSynchronization(&htim2, &sMasterConfig);

  sConfigOC.OCMode = TIM_OCMODE_PWM2;
  sConfigOC.Pulse = 0;
  sConfigOC.OCPolarity = TIM_OCPOLARITY_LOW;
  sConfigOC.OCFastMode = TIM_OCFAST_DISABLE;
  HAL_TIM_PWM_ConfigChannel(&htim2, &sConfigOC, TIM_CHANNEL_1);

  HAL_TIM_PWM_ConfigChannel(&htim2, &sConfigOC, TIM_CHANNEL_2);

  HAL_TIM_PWM_ConfigChannel(&htim2, &sConfigOC, TIM_CHANNEL_3);

  HAL_TIM_MspPostInit(&htim2);

}

/* TIM3 init function */
void MX_TIM3_Init(void)
{

  TIM_ClockConfigTypeDef sClockSourceConfig;
  TIM_MasterConfigTypeDef sMasterConfig;
  TIM_OC_InitTypeDef sConfigOC;

  htim3.Instance = TIM3;
  htim3.Init.Prescaler = 0;
  htim3.Init.CounterMode = TIM_COUNTERMODE_UP;
  htim3.Init.Period = 4200;
  htim3.Init.ClockDivision = TIM_CLOCKDIVISION_DIV1;
  HAL_TIM_Base_Init(&htim3);

  sClockSourceConfig.ClockSource = TIM_CLOCKSOURCE_INTERNAL;
  HAL_TIM_ConfigClockSource(&htim3, &sClockSourceConfig);

  HAL_TIM_PWM_Init(&htim3);

  sMasterConfig.MasterOutputTrigger = TIM_TRGO_RESET;
  sMasterConfig.MasterSlaveMode = TIM_MASTERSLAVEMODE_DISABLE;
  HAL_TIMEx_MasterConfigSynchronization(&htim3, &sMasterConfig);

  sConfigOC.OCMode = TIM_OCMODE_PWM2;
  sConfigOC.Pulse = 0;
  sConfigOC.OCPolarity = TIM_OCPOLARITY_LOW;
  sConfigOC.OCFastMode = TIM_OCFAST_DISABLE;
  HAL_TIM_PWM_ConfigChannel(&htim3, &sConfigOC, TIM_CHANNEL_1);

  HAL_TIM_PWM_ConfigChannel(&htim3, &sConfigOC, TIM_CHANNEL_2);

  sConfigOC.OCMode = TIM_OCMODE_PWM1;
  sConfigOC.OCPolarity = TIM_OCPOLARITY_HIGH;
  HAL_TIM_PWM_ConfigChannel(&htim3, &sConfigOC, TIM_CHANNEL_3);

  HAL_TIM_MspPostInit(&htim3);

}

/* TIM4 init function */
void MX_TIM4_Init(void)
{

  TIM_ClockConfigTypeDef sClockSourceConfig;
  TIM_MasterConfigTypeDef sMasterConfig;
  TIM_OC_InitTypeDef sConfigOC;

  htim4.Instance = TIM4;
  htim4.Init.Prescaler = 0;
  htim4.Init.CounterMode = TIM_COUNTERMODE_UP;
  htim4.Init.Period = 4200;
  htim4.Init.ClockDivision = TIM_CLOCKDIVISION_DIV1;
  HAL_TIM_Base_Init(&htim4);

  sClockSourceConfig.ClockSource = TIM_CLOCKSOURCE_INTERNAL;
  HAL_TIM_ConfigClockSource(&htim4, &sClockSourceConfig);

  HAL_TIM_PWM_Init(&htim4);

  sMasterConfig.MasterOutputTrigger = TIM_TRGO_RESET;
  sMasterConfig.MasterSlaveMode = TIM_MASTERSLAVEMODE_DISABLE;
  HAL_TIMEx_MasterConfigSynchronization(&htim4, &sMasterConfig);

  sConfigOC.OCMode = TIM_OCMODE_PWM2;
  sConfigOC.Pulse = 0;
  sConfigOC.OCPolarity = TIM_OCPOLARITY_LOW;
  sConfigOC.OCFastMode = TIM_OCFAST_DISABLE;
  HAL_TIM_PWM_ConfigChannel(&htim4, &sConfigOC, TIM_CHANNEL_1);

  HAL_TIM_PWM_ConfigChannel(&htim4, &sConfigOC, TIM_CHANNEL_2);

  sConfigOC.OCMode = TIM_OCMODE_PWM1;
  sConfigOC.OCPolarity = TIM_OCPOLARITY_HIGH;
  HAL_TIM_PWM_ConfigChannel(&htim4, &sConfigOC, TIM_CHANNEL_3);

  HAL_TIM_MspPostInit(&htim4);

}

/* TIM6 init function */
void MX_TIM6_Init(void)
{

  TIM_MasterConfigTypeDef sMasterConfig;

  htim6.Instance = TIM6;
  htim6.Init.Prescaler = 83;
  htim6.Init.CounterMode = TIM_COUNTERMODE_UP;
  htim6.Init.Period = 1000;
  HAL_TIM_Base_Init(&htim6);

  sMasterConfig.MasterOutputTrigger = TIM_TRGO_RESET;
  sMasterConfig.MasterSlaveMode = TIM_MASTERSLAVEMODE_DISABLE;
  HAL_TIMEx_MasterConfigSynchronization(&htim6, &sMasterConfig);

}

/* TIM7 init function */
void MX_TIM7_Init(void)
{

  TIM_MasterConfigTypeDef sMasterConfig;

  htim7.Instance = TIM7;
  htim7.Init.Prescaler = 83;
  htim7.Init.CounterMode = TIM_COUNTERMODE_UP;
  htim7.Init.Period = 10000;
  HAL_TIM_Base_Init(&htim7);

  sMasterConfig.MasterOutputTrigger = TIM_TRGO_RESET;
  sMasterConfig.MasterSlaveMode = TIM_MASTERSLAVEMODE_DISABLE;
  HAL_TIMEx_MasterConfigSynchronization(&htim7, &sMasterConfig);

}

/* USART3 init function */
void MX_USART3_UART_Init(void)
{

  huart3.Instance = USART3;
  huart3.Init.BaudRate = 9600;
  huart3.Init.WordLength = UART_WORDLENGTH_8B;
  huart3.Init.StopBits = UART_STOPBITS_1;
  huart3.Init.Parity = UART_PARITY_NONE;
  huart3.Init.Mode = UART_MODE_TX_RX;
  huart3.Init.HwFlowCtl = UART_HWCONTROL_NONE;
  huart3.Init.OverSampling = UART_OVERSAMPLING_16;
  HAL_UART_Init(&huart3);

}

/* USART6 init function */
void MX_USART6_UART_Init(void)
{

  huart6.Instance = USART6;
  huart6.Init.BaudRate = 9600;
  huart6.Init.WordLength = UART_WORDLENGTH_8B;
  huart6.Init.StopBits = UART_STOPBITS_1;
  huart6.Init.Parity = UART_PARITY_NONE;
  huart6.Init.Mode = UART_MODE_TX_RX;
  huart6.Init.HwFlowCtl = UART_HWCONTROL_NONE;
  huart6.Init.OverSampling = UART_OVERSAMPLING_16;
  HAL_UART_Init(&huart6);

}

void MX_DMA_Init(void)
{
  /* DMA controller clock enable */
  __HAL_RCC_DMA1_CLK_ENABLE();
  __HAL_RCC_DMA2_CLK_ENABLE();

  /* DMA interrupt init */
  /* DMA1_Stream1_IRQn interrupt configuration */
  HAL_NVIC_SetPriority(DMA1_Stream1_IRQn, 5, 0);
  HAL_NVIC_EnableIRQ(DMA1_Stream1_IRQn);
  /* DMA1_Stream2_IRQn interrupt configuration */
  HAL_NVIC_SetPriority(DMA1_Stream2_IRQn, 8, 0);
  HAL_NVIC_EnableIRQ(DMA1_Stream2_IRQn);
  /* DMA1_Stream3_IRQn interrupt configuration */
  HAL_NVIC_SetPriority(DMA1_Stream3_IRQn, 2, 0);
  HAL_NVIC_EnableIRQ(DMA1_Stream3_IRQn);
  /* DMA1_Stream4_IRQn interrupt configuration */
  HAL_NVIC_SetPriority(DMA1_Stream4_IRQn, 9, 0);
  HAL_NVIC_EnableIRQ(DMA1_Stream4_IRQn);
  /* DMA1_Stream7_IRQn interrupt configuration */
  HAL_NVIC_SetPriority(DMA1_Stream7_IRQn, 3, 0);
  HAL_NVIC_EnableIRQ(DMA1_Stream7_IRQn);
  /* DMA2_Stream1_IRQn interrupt configuration */
  HAL_NVIC_SetPriority(DMA2_Stream1_IRQn, 5, 0);
  HAL_NVIC_EnableIRQ(DMA2_Stream1_IRQn);
  /* DMA2_Stream6_IRQn interrupt configuration */
  HAL_NVIC_SetPriority(DMA2_Stream6_IRQn, 5, 0);
  HAL_NVIC_EnableIRQ(DMA2_Stream6_IRQn);

}

/** Configure pins as
        * Analog
        * Input
        * Output
        * EVENT_OUT
        * EXTI
        * Free pins are configured automatically as Analog (this feature is enabled through
        * the Code Generation settings)
     PA9   ------> USB_OTG_FS_VBUS
     PA10   ------> USB_OTG_FS_ID
     PA11   ------> USB_OTG_FS_DM
     PA12   ------> USB_OTG_FS_DP
*/
void MX_GPIO_Init(void)
{

  GPIO_InitTypeDef GPIO_InitStruct;

  /* GPIO Ports Clock Enable */
  __HAL_RCC_GPIOE_CLK_ENABLE();
  __HAL_RCC_GPIOC_CLK_ENABLE();
  __HAL_RCC_GPIOH_CLK_ENABLE();
  __HAL_RCC_GPIOA_CLK_ENABLE();
  __HAL_RCC_GPIOB_CLK_ENABLE();
  __HAL_RCC_GPIOD_CLK_ENABLE();

  /*Configure GPIO pins : PE2 PE3 PE4 PE5
                           PE6 PE0 PE1 */
  GPIO_InitStruct.Pin = GPIO_PIN_2|GPIO_PIN_3|GPIO_PIN_4|GPIO_PIN_5
                          |GPIO_PIN_6|GPIO_PIN_0|GPIO_PIN_1;
  GPIO_InitStruct.Mode = GPIO_MODE_ANALOG;
  GPIO_InitStruct.Pull = GPIO_NOPULL;
  HAL_GPIO_Init(GPIOE, &GPIO_InitStruct);

  /*Configure GPIO pins : PC13 PC1 PC2 PC3
                           PC4 PC5 PC10 PC11
                           PC12 */
  GPIO_InitStruct.Pin = GPIO_PIN_13|GPIO_PIN_1|GPIO_PIN_2|GPIO_PIN_3
                          |GPIO_PIN_4|GPIO_PIN_5|GPIO_PIN_10|GPIO_PIN_11
                          |GPIO_PIN_12;
  GPIO_InitStruct.Mode = GPIO_MODE_ANALOG;
  GPIO_InitStruct.Pull = GPIO_NOPULL;
  HAL_GPIO_Init(GPIOC, &GPIO_InitStruct);

  /*Configure GPIO pins : OTG_FS_PowerSwitchOn_Pin BNO055_nRESET_Pin */
  GPIO_InitStruct.Pin = OTG_FS_PowerSwitchOn_Pin|BNO055_nRESET_Pin;
  GPIO_InitStruct.Mode = GPIO_MODE_OUTPUT_PP;
  GPIO_InitStruct.Pull = GPIO_NOPULL;
  GPIO_InitStruct.Speed = GPIO_SPEED_FREQ_LOW;
  HAL_GPIO_Init(GPIOC, &GPIO_InitStruct);

  /*Configure GPIO pin : B1_Pin */
  GPIO_InitStruct.Pin = B1_Pin;
  GPIO_InitStruct.Mode = GPIO_MODE_EVT_RISING;
  GPIO_InitStruct.Pull = GPIO_NOPULL;
  HAL_GPIO_Init(B1_GPIO_Port, &GPIO_InitStruct);

  /*Configure GPIO pins : PA4 PA15 */
  GPIO_InitStruct.Pin = GPIO_PIN_4|GPIO_PIN_15;
  GPIO_InitStruct.Mode = GPIO_MODE_ANALOG;
  GPIO_InitStruct.Pull = GPIO_NOPULL;
  HAL_GPIO_Init(GPIOA, &GPIO_InitStruct);

  /*Configure GPIO pins : PB1 PB13 PB14 PB4
                           PB5 PB9 */
  GPIO_InitStruct.Pin = GPIO_PIN_1|GPIO_PIN_13|GPIO_PIN_14|GPIO_PIN_4
                          |GPIO_PIN_5|GPIO_PIN_9;
  GPIO_InitStruct.Mode = GPIO_MODE_ANALOG;
  GPIO_InitStruct.Pull = GPIO_NOPULL;
  HAL_GPIO_Init(GPIOB, &GPIO_InitStruct);

  /*Configure GPIO pin : BOOT1_Pin */
  GPIO_InitStruct.Pin = BOOT1_Pin;
  GPIO_InitStruct.Mode = GPIO_MODE_INPUT;
  GPIO_InitStruct.Pull = GPIO_NOPULL;
  HAL_GPIO_Init(BOOT1_GPIO_Port, &GPIO_InitStruct);

  /*Configure GPIO pins : First_Driver_nFAULT_Pin Second_Driver_nFAULT_Pin Third_Driver_nFAULT_Pin */
  GPIO_InitStruct.Pin = First_Driver_nFAULT_Pin|Second_Driver_nFAULT_Pin|Third_Driver_nFAULT_Pin;
  GPIO_InitStruct.Mode = GPIO_MODE_INPUT;
  GPIO_InitStruct.Pull = GPIO_PULLUP;
  HAL_GPIO_Init(GPIOE, &GPIO_InitStruct);

  /*Configure GPIO pins : First_Driver_nRESET_Pin First_Driver_nSLEEP_Pin Second_Driver_nRESET_Pin Second_Driver_nSLEEP_Pin
                           Third_Driver_nRESET_Pin Third_Driver_nSLEEP_Pin */
  GPIO_InitStruct.Pin = First_Driver_nRESET_Pin|First_Driver_nSLEEP_Pin|Second_Driver_nRESET_Pin|Second_Driver_nSLEEP_Pin
                          |Third_Driver_nRESET_Pin|Third_Driver_nSLEEP_Pin;
  GPIO_InitStruct.Mode = GPIO_MODE_OUTPUT_PP;
  GPIO_InitStruct.Pull = GPIO_NOPULL;
  GPIO_InitStruct.Speed = GPIO_SPEED_FREQ_LOW;
  HAL_GPIO_Init(GPIOE, &GPIO_InitStruct);

  /*Configure GPIO pins : AS504BB_BUS_POWER_Pin HM_11_nRESET_Pin */
  GPIO_InitStruct.Pin = AS504BB_BUS_POWER_Pin|HM_11_nRESET_Pin;
  GPIO_InitStruct.Mode = GPIO_MODE_OUTPUT_PP;
  GPIO_InitStruct.Pull = GPIO_NOPULL;
  GPIO_InitStruct.Speed = GPIO_SPEED_FREQ_LOW;
  HAL_GPIO_Init(GPIOB, &GPIO_InitStruct);

  /*Configure GPIO pins : PD10 PD11 PD0 PD1
                           PD2 PD3 PD4 PD6
                           PD7 */
  GPIO_InitStruct.Pin = GPIO_PIN_10|GPIO_PIN_11|GPIO_PIN_0|GPIO_PIN_1
                          |GPIO_PIN_2|GPIO_PIN_3|GPIO_PIN_4|GPIO_PIN_6
                          |GPIO_PIN_7;
  GPIO_InitStruct.Mode = GPIO_MODE_ANALOG;
  GPIO_InitStruct.Pull = GPIO_NOPULL;
  HAL_GPIO_Init(GPIOD, &GPIO_InitStruct);

  /*Configure GPIO pins : LD4_Pin LD3_Pin LD5_Pin LD6_Pin */
  GPIO_InitStruct.Pin = LD4_Pin|LD3_Pin|LD5_Pin|LD6_Pin;
  GPIO_InitStruct.Mode = GPIO_MODE_OUTPUT_PP;
  GPIO_InitStruct.Pull = GPIO_NOPULL;
  GPIO_InitStruct.Speed = GPIO_SPEED_FREQ_LOW;
  HAL_GPIO_Init(GPIOD, &GPIO_InitStruct);

  /*Configure GPIO pin : VBUS_FS_Pin */
  GPIO_InitStruct.Pin = VBUS_FS_Pin;
  GPIO_InitStruct.Mode = GPIO_MODE_INPUT;
  GPIO_InitStruct.Pull = GPIO_NOPULL;
  HAL_GPIO_Init(VBUS_FS_GPIO_Port, &GPIO_InitStruct);

  /*Configure GPIO pins : OTG_FS_ID_Pin OTG_FS_DM_Pin OTG_FS_DP_Pin */
  GPIO_InitStruct.Pin = OTG_FS_ID_Pin|OTG_FS_DM_Pin|OTG_FS_DP_Pin;
  GPIO_InitStruct.Mode = GPIO_MODE_AF_PP;
  GPIO_InitStruct.Pull = GPIO_NOPULL;
  GPIO_InitStruct.Speed = GPIO_SPEED_FREQ_LOW;
  GPIO_InitStruct.Alternate = GPIO_AF10_OTG_FS;
  HAL_GPIO_Init(GPIOA, &GPIO_InitStruct);

  /*Configure GPIO pin : OTG_FS_OverCurrent_Pin */
  GPIO_InitStruct.Pin = OTG_FS_OverCurrent_Pin;
  GPIO_InitStruct.Mode = GPIO_MODE_INPUT;
  GPIO_InitStruct.Pull = GPIO_NOPULL;
  HAL_GPIO_Init(OTG_FS_OverCurrent_GPIO_Port, &GPIO_InitStruct);

  /*Configure GPIO pin Output Level */
  HAL_GPIO_WritePin(OTG_FS_PowerSwitchOn_GPIO_Port, OTG_FS_PowerSwitchOn_Pin, GPIO_PIN_RESET);

  /*Configure GPIO pin Output Level */
  HAL_GPIO_WritePin(GPIOE, First_Driver_nRESET_Pin|First_Driver_nSLEEP_Pin|Second_Driver_nRESET_Pin|Second_Driver_nSLEEP_Pin
                          |Third_Driver_nRESET_Pin|Third_Driver_nSLEEP_Pin, GPIO_PIN_RESET);

  /*Configure GPIO pin Output Level */
  HAL_GPIO_WritePin(GPIOB, AS504BB_BUS_POWER_Pin|HM_11_nRESET_Pin, GPIO_PIN_SET);

  /*Configure GPIO pin Output Level */
  HAL_GPIO_WritePin(GPIOD, LD4_Pin|LD3_Pin|LD5_Pin|LD6_Pin, GPIO_PIN_RESET);

  /*Configure GPIO pin Output Level */
  HAL_GPIO_WritePin(BNO055_nRESET_GPIO_Port, BNO055_nRESET_Pin, GPIO_PIN_SET);

}

/* USER CODE BEGIN 4 */
void HAL_TIM_PeriodElapsedCallback(TIM_HandleTypeDef *htim)
{
  /* If the timer is TIM6 */
  if ((htim->Instance == TIM6) && (ErrorOccured == FALSE))
  {
    HAL_GPIO_WritePin(GPIOD, GPIO_PIN_12, GPIO_PIN_SET);

    ControlTick++;

    if (NewPacketFlag == TRUE)
    {
      ProcessPacketDataTask();

      NewPacketFlag = FALSE;
    }

    MotionControlTask();

    HAL_GPIO_WritePin(GPIOD, GPIO_PIN_12, GPIO_PIN_RESET);
  }

  /* If TIM7 interrupt occured */
  if ((htim->Instance == TIM7) && (ErrorOccured == FALSE))
  {
    OrientationReadTask();

    if (OperationMode == OPERATION_MODE_STABILIZER_AND_CONTROLLER)
    {
      if (++LastControllerInteractionStopwatch >= CONTROLLER_DROPOUT_PERIOD)
      {
        SuccessivePackets = 0;
        OperationMode = OPERATION_MODE_STABILIZER;
      }
    }
  }
}

static void MotionControlTask(void)
{
  Quaternion_Quaternion_t body_orientation_inverted;
  Quaternion_Quaternion_t orientation_difference;

  /* Take action according to operation mode */
  if (OperationMode == OPERATION_MODE_STABILIZER_AND_CONTROLLER)
  {
    if (VectorInt_Execute(&controllerVectorIntHandle, ((float *)&ControllerOrientation),
                          ControlTick) != VECTOR_INT_OP_RES_SUCCESS)
    {
      Error_Handler();
    }
  }

  if (VectorInt_Execute(&bodyVectorIntHandle, ((float *)&BodyOrientation),
                        ControlTick) != VECTOR_INT_OP_RES_SUCCESS)
  {
    Error_Handler();
  }

  /* Calculate inverted body orientation */
  if (Quaternion_CalculateInverse(&BodyOrientation,
                                  &body_orientation_inverted) != QUATERNION_OP_RES_SUCCESS)
  {
    Error_Handler();
  }

  if (Quaternion_Multiply(&body_orientation_inverted, &ControllerOrientation,
                          &orientation_difference) != QUATERNION_OP_RES_SUCCESS)
  {
    Error_Handler();
  }

  /* Calculate euler angles */
  if (Quaternion_CalculateEulerAngles(&orientation_difference,
                                      &EulerAngles,
                                      &EulerAngles) != QUATERNION_OP_RES_SUCCESS)
  {
    Error_Handler();
  }

  /* Execute motion controllers */
  if ((MotCtrl_Execute(&firstMotCtrlHandle, EulerAngles.first) != MOT_CTRL_OP_RES_SUCCESS))
  {
    Error_Handler();
  }

  if ((MotCtrl_Execute(&secondMotCtrlHandle, EulerAngles.second) != MOT_CTRL_OP_RES_SUCCESS))
  {
    Error_Handler();
  }

  if ((MotCtrl_Execute(&thirdMotCtrlHandle, EulerAngles.third) != MOT_CTRL_OP_RES_SUCCESS))
  {
    Error_Handler();
  }
}

static void OrientationReadTask(void)
{
  Quaternion_Quaternion_t body_orientation;
  Quaternion_Quaternion_t body_orientation_offset = BODY_ORIENTATION_OFFSET;

  /* Get orientation */
  if (OrientSensDrv_Execute(&orientSensDrvHandle, &body_orientation) != ORIENT_SENS_DRV_OP_RES_SUCCESS)
  {
    Error_Handler();
  }

  /* Normalize quaternion */
  if (Quaternion_NormalizeQuaternion(&body_orientation, &body_orientation) != QUATERNION_OP_RES_SUCCESS)
  {
    Error_Handler();
  }

  /* Add orientation offset */
  if (Quaternion_Rotate(&body_orientation, &body_orientation_offset,
                        &body_orientation) != QUATERNION_OP_RES_SUCCESS)
  {
    Error_Handler();
  }

  /* Input value to body vector interpolater */
  if (VectorInt_Input(&bodyVectorIntHandle, (float *)&body_orientation,
                      ControlTick) != VECTOR_INT_OP_RES_SUCCESS)
  {
    Error_Handler();
  }
}

static void ProcessPacketDataTask(void)
{
  uint32_t packet_tick_raw;
  uint32_t packet_tick;
  uint32_t synchronized_packet_tick;
  int32_t tick_difference;

  /* Parse packet time */
  packet_tick_raw = ((uint32_t)DataPacket[8]);
  packet_tick_raw |= ((uint32_t)DataPacket[9] << 8);
  packet_tick_raw |= ((uint32_t)DataPacket[10] << 16);
  packet_tick_raw |= ((uint32_t)DataPacket[11] << 24);

  packet_tick = (uint32_t)(packet_tick_raw * ((float)CONTROL_FREQ / 1000.0f));

  /* Calculate tick difference */
  tick_difference = (int32_t)(ControlTick - packet_tick);

  /* If the operation mode was stabilizer, switch to stabilizer and controller mode. */
  if (OperationMode == OPERATION_MODE_STABILIZER)
  {
    TickDifferenceCoarse = tick_difference;
    TickDifferenceFine = 0.0f;
    OperationMode = OPERATION_MODE_STABILIZER_AND_CONTROLLER;
  }
  else
  {
    TickDifferenceFine = TickDifferenceFine * 0.9f + (((float)tick_difference - TickDifferenceCoarse) * 0.1f);
    SuccessivePackets++;
  }

  synchronized_packet_tick = (uint32_t)((int32_t)packet_tick + TickDifferenceCoarse + \
                                        ((int32_t)TickDifferenceFine));

  if (SuccessivePackets > NUM_OF_SUCCESSIVE_PACKETS_FOR_SYNCHRONIZATION)
  {
    Quaternion_Quaternion_t controller_orientation;

    /* Cast signed integers to floating pointer variables
      Turn the MSB and LSB into a signed 16-bit value */
    controller_orientation.w = (float)((int16_t)(DataPacket[1] << 8) | \
                                                 DataPacket[0]);
    controller_orientation.x = (float)((int16_t)(DataPacket[3] << 8) | \
                                                 DataPacket[2]);
    controller_orientation.y = (float)((int16_t)(DataPacket[5] << 8) | \
                                                 DataPacket[4]);
    controller_orientation.z = (float)((int16_t)(DataPacket[7] << 8) | \
                                                 DataPacket[6]);
    /* Normalize quaternion */
    if (Quaternion_NormalizeQuaternion(&controller_orientation,
                                       &controller_orientation) != QUATERNION_OP_RES_SUCCESS)
    {
      Error_Handler();
    }

    /* Input to controller vector interpolater */
    if (VectorInt_Input(&controllerVectorIntHandle,
                        (float *)&controller_orientation,
                        synchronized_packet_tick) != VECTOR_INT_OP_RES_SUCCESS)
    {
      Error_Handler();
    }
  }

  LastControllerInteractionStopwatch = 0;
}

void I2CManager_ErrorCallback(I2CManager_Handle_t *pHandle)
{
  /* Prevent unused argument(s) compilation warning */
  UNUSED(pHandle);

  Error_Handler();
}

void UartPktXcvr_ErrorOccuredCallback(UartPktXcvr_Handle_t *pHandle)
{
  /* Prevent unused argument(s) compilation warning */
  UNUSED(pHandle);

  Error_Handler();
}

void UartPktXcvr_PacketReceivedCallback(UartPktXcvr_Handle_t *pHandle,
                                        uint8_t *pPacket)
{
  /* Prevent unused argument(s) compilation warning */
  UNUSED(pHandle);

  /* If there is unprocessed data, discard the new packet */
  if (NewPacketFlag == FALSE)
  {
    /* Copy data packet */
    for (uint8_t i = 0; i < DATA_PACKET_SIZE; i++)
    {
      DataPacket[i] = pPacket[i];
    }

    NewPacketFlag = TRUE;
  }
}

static void Error_Handler(void)
{
  ErrorOccured = TRUE;

  HAL_GPIO_WritePin(GPIOD, LD3_Pin, GPIO_PIN_SET);

  while(1);
}
/* USER CODE END 4 */

/************************ (C) COPYRIGHT STMicroelectronics *****END OF FILE****/
